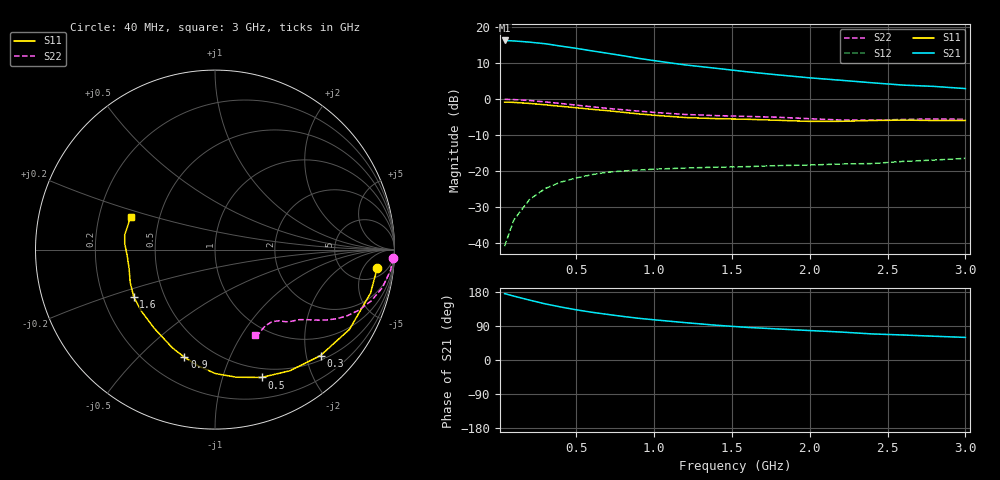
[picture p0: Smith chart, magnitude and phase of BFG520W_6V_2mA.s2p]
! Filename:  BFG520WG.S2P  Version:  4.0
! Philips part #: BFG520  Date: Jun 1994
! Bias condition: Vce=6.0V, Ic=2.0mA
! IN LINE PINNING: same data as with cross emitter pinning.
#  MHz  S  MA  R  50
! Freq  S11  S21  S12  S22  !GUM [dB]
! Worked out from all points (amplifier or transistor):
!   21 points, 40 MHz to 3 GHz, reference 50 ohm
!   highest |S21| = 16.3 dB at 40 MHz (marker M1)
!   |S21| within 3 dB of that: start of sweep to 616.5 MHz
!   unconditionally stable (mu >= 1): 1.99 GHz to end of sweep
!   at 300 MHz: K = 0.13, MSG = 20.1 dB, |S12| = -24.9 dB
!   at 1 GHz: K = 0.49, MSG = 15.1 dB, |S12| = -19.5 dB
!   at 3 GHz: K = 1.16, MAG = 7.3 dB, |S12| = -16.5 dB
!   S11 on the Smith chart (normalised r, x): 40 MHz: 9, -10; 300 MHz: 0.59, -2.28; 500 MHz: 0.40, -1.35; 900 MHz: 0.35, -0.69; 1.6 GHz: 0.33, -0.24; 3 GHz: 0.34, +0.17
40  0.91 -6.3  6.545 175.2  0.009 84.6  0.994 -2.7
100  0.9 -15.6  6.446 168.5  0.021 81.7  0.985 -6.7
200  0.871 -30.7  6.201 158.1  0.04 73.5  0.956 -12.9
300  0.833 -45.1  5.894 148.2  0.057 66.6  0.915 -18.3
400  0.794 -58.2  5.467 139.9  0.07 61.0  0.87 -22.8
500  0.758 -70.0  5.083 132.5  0.08 55.9  0.825 -26.5
600  0.721 -80.5  4.693 126.0  0.089 52.1  0.783 -29.4
700  0.691 -89.7  4.344 120.4  0.096 49.1  0.744 -31.7
800  0.655 -98.2  4.016 115.0  0.1 46.8  0.711 -33.6
900  0.623 -105.9  3.693 110.1  0.103 45.2  0.681 -35.2
1000  0.597 -113.4  3.43 106.1  0.106 44.1  0.654 -36.7
1200  0.554 -127.6  2.991 98.6  0.11 42.9  0.612 -39.6
1400  0.535 -139.9  2.682 91.7  0.113 42.3  0.589 -42.4
1600  0.524 -149.7  2.396 86.0  0.115 44.5  0.575 -44.4
1800  0.507 -158.7  2.169 81.8  0.119 46.2  0.559 -45.9
2000  0.49 -167.7  1.976 77.7  0.121 48.4  0.534 -47.9
2200  0.491 -176.8  1.829 73.8  0.125 51.0  0.512 -51.7
2400  0.504 176.3  1.688 68.8  0.127 54.9  0.509 -56.7
2600  0.51 170.6  1.566 66.0  0.136 58.2  0.521 -60.8
2800  0.504 165.3  1.502 62.7  0.142 60.5  0.53 -62.8
3000  0.505 158.7  1.401 59.6  0.15 64.0  0.524 -64.6
